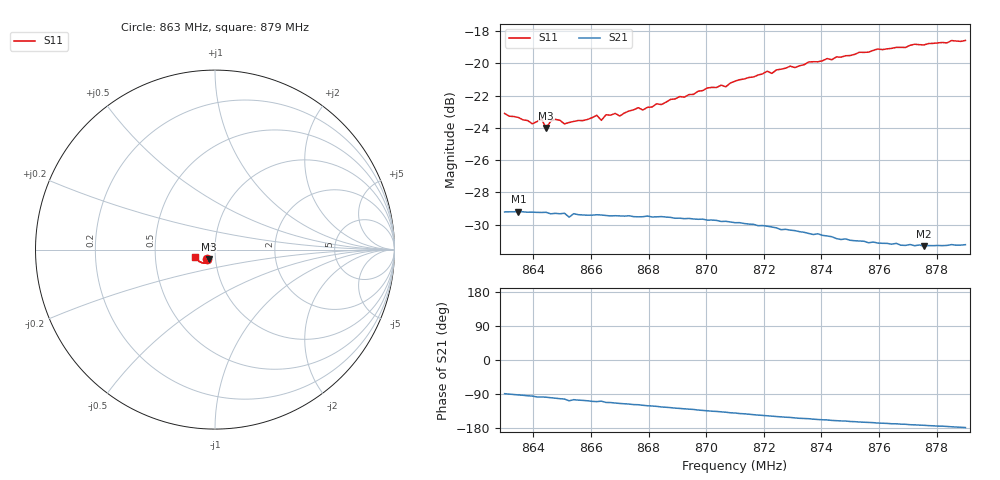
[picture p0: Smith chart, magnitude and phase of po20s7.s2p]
# HZ S RI R 50
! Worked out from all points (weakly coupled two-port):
!   101 points, 863 MHz to 879 MHz, reference 50 ohm
!   highest |S21| = -29.19 dB at 863.48 MHz (marker M1); lowest = -31.3 dB at 877.56 MHz (marker M2)
!   lowest |S11| = -24.0 dB at 864.44 MHz (marker M3), VSWR 1.13, Z = 46.4 - j4.89 ohm
!   |S11| at or under -10 dB: start of sweep to end of sweep
!   S12 and S22 are empty: the file has one direction only
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8.63e8  -0.0442 -0.0542  0.000677 -0.0346  0 0  0 0
8.6348e8  -0.0416 -0.0537  -0.00129 -0.0347  0 0  0 0
8.6396e8  -0.0382 -0.0526  -0.0031 -0.0344  0 0  0 0
8.6428e8  -0.0379 -0.0555  -0.00454 -0.0342  0 0  0 0
8.6444e8  -0.0348 -0.0525  -0.00491 -0.0342  0 0  0 0
8.6476e8  -0.038 -0.0552  -0.00639 -0.0337  0 0  0 0
8.6508e8  -0.034 -0.0553  -0.00773 -0.0334  0 0  0 0
8.6524e8  -0.0356 -0.055  -0.0101 -0.0318  0 0  0 0
8.6572e8  -0.0328 -0.0578  -0.00966 -0.0325  0 0  0 0
8.662e8  -0.0344 -0.0598  -0.0115 -0.0319  0 0  0 0
8.6636e8  -0.0321 -0.0583  -0.0108 -0.0321  0 0  0 0
8.6652e8  -0.0339 -0.0604  -0.0127 -0.0313  0 0  0 0
8.67e8  -0.0332 -0.0601  -0.014 -0.0306  0 0  0 0
8.6764e8  -0.0354 -0.0637  -0.0157 -0.0295  0 0  0 0
8.678e8  -0.035 -0.0626  -0.0165 -0.0291  0 0  0 0
8.6844e8  -0.035 -0.0658  -0.0187 -0.0278  0 0  0 0
8.7068e8  -0.0444 -0.072  -0.024 -0.0218  0 0  0 0
8.71e8  -0.048 -0.0738  -0.0245 -0.0206  0 0  0 0
8.7372e8  -0.0679 -0.075  -0.0269 -0.0119  0 0  0 0
8.7644e8  -0.0921 -0.0626  -0.0269 -0.00561  0 0  0 0
8.7756e8  -0.1008 -0.0534  -0.0269 -0.00363  0 0  0 0
8.79e8  -0.1107 -0.0401  -0.0274 -0.000813  0 0  0 0
